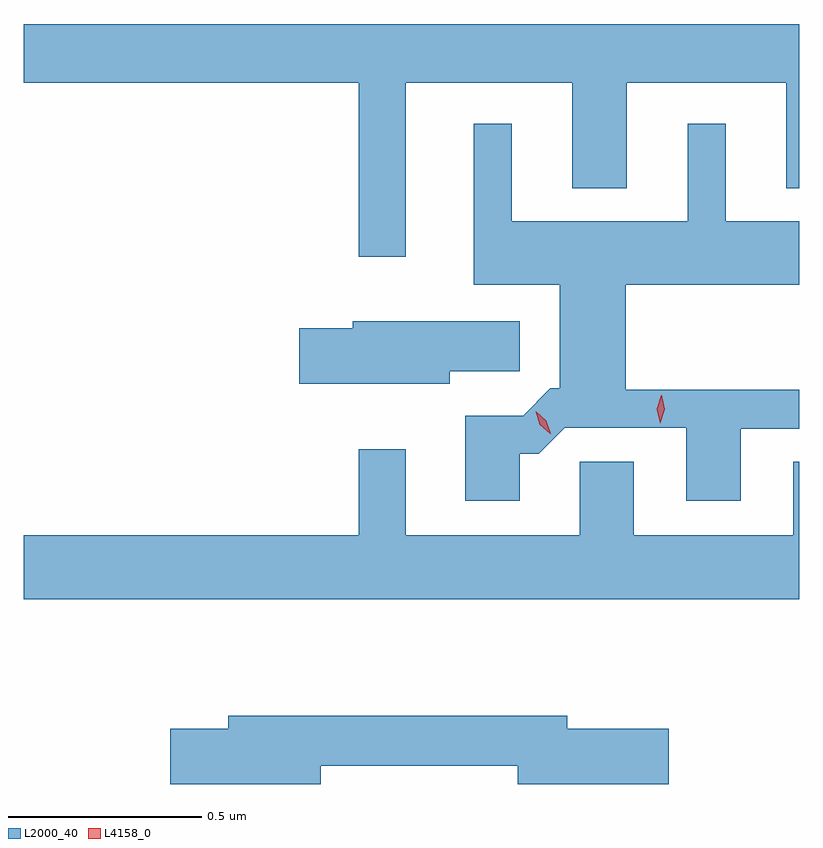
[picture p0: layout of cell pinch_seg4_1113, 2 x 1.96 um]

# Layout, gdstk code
import gdstk
lib = gdstk.Library(unit=1e-6, precision=1e-09)
def P(c, l, *ps):  # polygons
    for p in ps: c.add(gdstk.Polygon(p, *l))
L2000_40 = (2000, 40)
L4158_0 = (4158, 0)

pinch_seg4_1113 = lib.new_cell('pinch_seg4_1113')
P(pinch_seg4_1113, L2000_40, [(547.339,802.148),(547.769,802.148),(547.769,801.875),(547.909,801.875),(547.909,802.148),(548.321,802.148),(548.321,801.875),(548.354,801.875),(548.354,802.299),(546.354,802.299),(546.354,802.148),(547.218,802.148),(547.218,801.699),(547.339,801.699)],
  [(547.633,801.191),(547.682,801.191),(547.749,801.258),(548.063,801.258),(548.063,801.069),(548.203,801.069),(548.203,801.255),(548.354,801.255),(548.354,801.356),(547.907,801.356),(547.907,801.626),(548.354,801.626),(548.354,801.79),(548.164,801.79),(548.164,802.042),(548.066,802.042),(548.066,801.79),(547.612,801.79),(547.612,802.042),(547.514,802.042),(547.514,801.626),(547.736,801.626),(547.736,801.359),(547.712,801.359),(547.642,801.289),(547.493,801.289),(547.493,801.069),(547.633,801.069)],
  [(547.453,801.403),(547.633,801.403),(547.633,801.532),(547.202,801.532),(547.202,801.515),(547.065,801.515),(547.065,801.371),(547.453,801.371)],
  [(548.354,801.17),(548.339,801.17),(548.339,800.98),(547.927,800.98),(547.927,801.17),(547.788,801.17),(547.788,800.98),(547.339,800.98),(547.339,801.202),(547.218,801.202),(547.218,800.98),(546.354,800.98),(546.354,800.816),(548.354,800.816)],
  [(547.12,800.386),(547.628,800.386),(547.628,800.339),(548.017,800.339),(548.017,800.481),(547.756,800.481),(547.756,800.515),(546.881,800.515),(546.881,800.481),(546.732,800.481),(546.732,800.339),(547.12,800.339)])
P(pinch_seg4_1113, L4158_0, [(547.996,801.27),(547.996,801.27),(547.987,801.306),(547.998,801.341),(547.999,801.341),(547.999,801.341),(548.007,801.305),(547.996,801.27)],
  [(547.712,801.242),(547.685,801.265),(547.675,801.3),(547.675,801.3),(547.675,801.3),(547.702,801.276),(547.713,801.242),(547.713,801.242)])

lib.write_gds('pinch_seg4_1113.gds')
